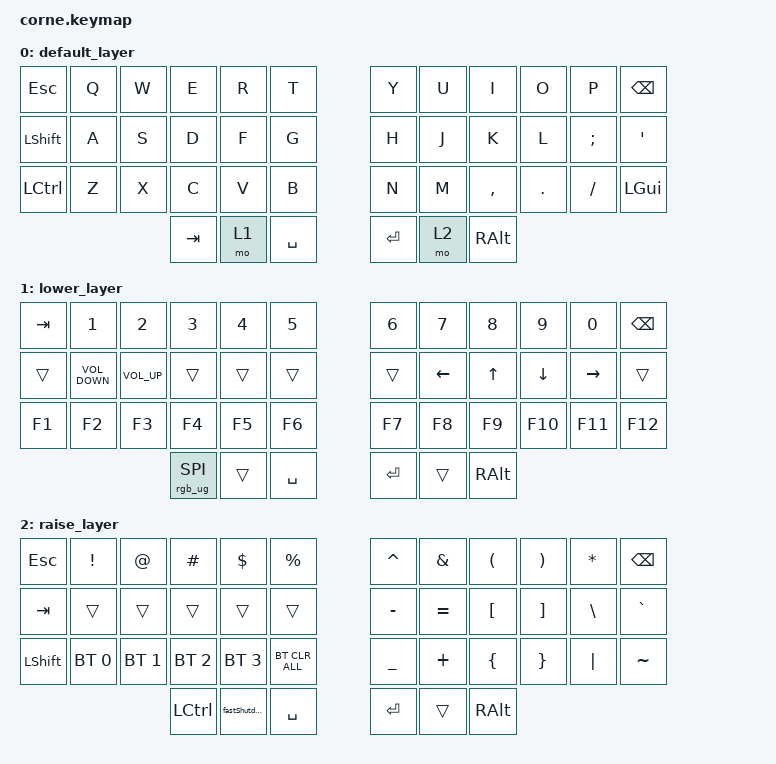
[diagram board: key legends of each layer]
/*
 * Copyright (c) 2020 The ZMK Contributors
 *
 * SPDX-License-Identifier: MIT
 */

#include <behaviors.dtsi>
#include <dt-bindings/zmk/bt.h>
#include <dt-bindings/zmk/keys.h>
#include <dt-bindings/zmk/rgb.h>

/ {
    macros {
        fastShutdownWin: new_macro {
            compatible = "zmk,behavior-macro";
            #binding-cells = <0>;
            bindings = <&kp LEFT_WIN &kp X &kp U &kp U>;
            label = "NEW_MACRO";
        };
    };

    keymap {
        compatible = "zmk,keymap";

        default_layer {
            // -----------------------------------------------------------------------------------------
            // |  TAB |  Q  |  W  |  E  |  R  |  T  |   |  Y  |  U   |  I  |  O  |  P  | BKSP |
            // | CTRL |  A  |  S  |  D  |  F  |  G  |   |  H  |  J   |  K  |  L  |  ;  |  '   |
            // | SHFT |  Z  |  X  |  C  |  V  |  B  |   |  N  |  M   |  ,  |  .  |  /  | ESC  |
            //                    | GUI | LWR | SPC |   | ENT | RSE  | ALT |

            bindings = <
&kp ESC         &kp Q  &kp W  &kp E    &kp R  &kp T        &kp Y      &kp U  &kp I      &kp O    &kp P     &kp BSPC
&kp LEFT_SHIFT  &kp A  &kp S  &kp D    &kp F  &kp G        &kp H      &kp J  &kp K      &kp L    &kp SEMI  &kp SQT
&kp LCTRL       &kp Z  &kp X  &kp C    &kp V  &kp B        &kp N      &kp M  &kp COMMA  &kp DOT  &kp FSLH  &kp LEFT_GUI
                              &kp TAB  &mo 1  &kp SPACE    &kp ENTER  &mo 2  &kp RALT
            >;
        };

        lower_layer {
            // -----------------------------------------------------------------------------------------
            // |  TAB |  1  |  2  |  3  |  4  |  5  |   |  6  |  7  |  8  |  9  |  0  | BKSP |
            // | BTCLR| BT1 | BT2 | BT3 | BT4 | BT5 |   | LFT | DWN |  UP | RGT |     |      |
            // | SHFT |     |     |     |     |     |   |     |     |     |     |     |      |
            //                    | GUI |     | SPC |   | ENT |     | ALT |

            bindings = <
&kp TAB  &kp N1             &kp N2           &kp N3           &kp N4  &kp N5       &kp N6   &kp N7          &kp N8    &kp N9          &kp N0     &kp BSPC
&trans   &kp C_VOLUME_DOWN  &kp C_VOLUME_UP  &trans           &trans  &trans       &trans   &kp LEFT_ARROW  &kp UP    &kp DOWN_ARROW  &kp RIGHT  &trans
&kp F1   &kp F2             &kp F3           &kp F4           &kp F5  &kp F6       &kp F7   &kp F8          &kp F9    &kp F10         &kp F11    &kp F12
                                             &rgb_ug RGB_SPI  &trans  &kp SPACE    &kp RET  &trans          &kp RALT
            >;
        };

        raise_layer {
            // -----------------------------------------------------------------------------------------
            // |  TAB |  !  |  @  |  #  |  $  |  %  |   |  ^  |  &  |  *  |  (  |  )  | BKSP |
            // | CTRL |     |     |     |     |     |   |  -  |  =  |  [  |  ]  |  \  |  `   |
            // | SHFT |     |     |     |     |     |   |  _  |  +  |  {  |  }  | "|" |  ~   |
            //                    | GUI |     | SPC |   | ENT |     | ALT |

            bindings = <
&kp ESC         &kp EXCL      &kp AT        &kp HASH      &kp DLLR          &kp PRCNT         &kp CARET  &kp AMPS   &kp LEFT_PARENTHESIS  &kp RIGHT_PARENTHESIS  &kp ASTERISK  &kp BSPC
&kp TAB         &trans        &trans        &trans        &trans            &trans            &kp MINUS  &kp EQUAL  &kp LBKT              &kp RBKT               &kp BSLH      &kp GRAVE
&kp LEFT_SHIFT  &bt BT_SEL 0  &bt BT_SEL 1  &bt BT_SEL 2  &bt BT_SEL 3      &bt BT_CLR_ALL    &kp UNDER  &kp PLUS   &kp LBRC              &kp RBRC               &kp PIPE      &kp TILDE
                                            &kp LCTRL     &fastShutdownWin  &kp SPACE         &kp RET    &trans     &kp RALT
            >;
        };
    };
};
